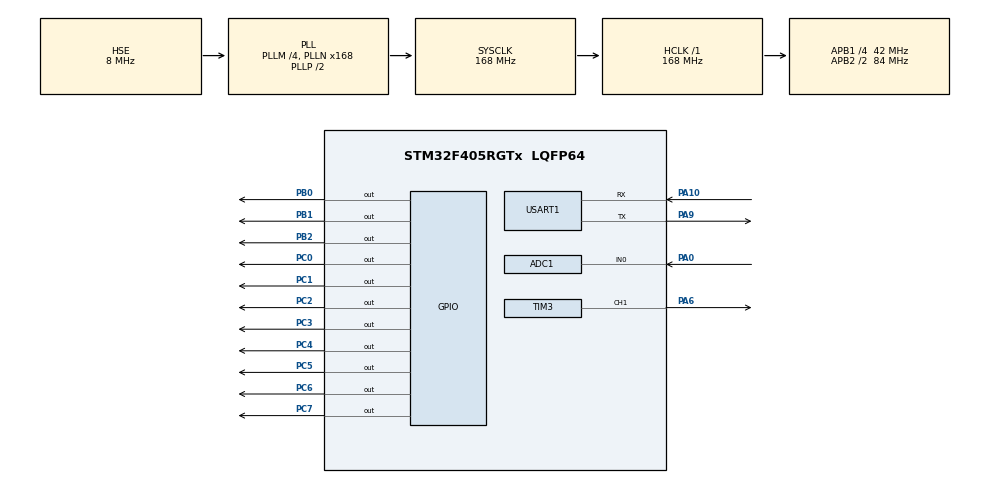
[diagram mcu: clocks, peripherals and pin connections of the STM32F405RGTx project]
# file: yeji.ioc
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ADC1.Channel-0\#ChannelRegularConversion=ADC_CHANNEL_0
ADC1.ContinuousConvMode=ENABLE
ADC1.DMAContinuousRequests=ENABLE
ADC1.NbrOfConversionFlag=1
ADC1.Rank-0\#ChannelRegularConversion=1
ADC1.SamplingTime-0\#ChannelRegularConversion=ADC_SAMPLETIME_3CYCLES
ADC1.master=1
Dma.ADC1.0.Direction=DMA_PERIPH_TO_MEMORY
Dma.ADC1.0.FIFOMode=DMA_FIFOMODE_DISABLE
Dma.ADC1.0.Instance=DMA2_Stream0
Dma.ADC1.0.MemDataAlignment=DMA_MDATAALIGN_HALFWORD
Dma.ADC1.0.MemInc=DMA_MINC_ENABLE
Dma.ADC1.0.Mode=DMA_CIRCULAR
Dma.ADC1.0.PeriphDataAlignment=DMA_PDATAALIGN_HALFWORD
Dma.ADC1.0.PeriphInc=DMA_PINC_DISABLE
Dma.ADC1.0.Priority=DMA_PRIORITY_LOW
Dma.Request0=ADC1
Mcu.Family=STM32F4
Mcu.Name=STM32F405RGTx
Mcu.Package=LQFP64
NVIC.DMA2_Stream0_IRQn=true\:0\:0\:false\:false\:true\:false\:true
NVIC.PriorityGroup=NVIC_PRIORITYGROUP_4
PA0-WKUP.Signal=ADCx_IN0
PA10.Mode=Asynchronous
PA10.Signal=USART1_RX
PA13.Mode=Serial_Wire
PA13.Signal=SYS_JTMS-SWDIO
PA14.Mode=Serial_Wire
PA14.Signal=SYS_JTCK-SWCLK
PA6.Signal=S_TIM3_CH1
PA9.Mode=Asynchronous
PA9.Signal=USART1_TX
PB0.Signal=GPIO_Output
PB1.Signal=GPIO_Output
PB2.Signal=GPIO_Output
PC0.Signal=GPIO_Output
PC1.Signal=GPIO_Output
PC2.Signal=GPIO_Output
PC3.Signal=GPIO_Output
PC4.Signal=GPIO_Output
PC5.Signal=GPIO_Output
PC6.Signal=GPIO_Output
PC7.Signal=GPIO_Output
PH0-OSC_IN.Mode=HSE-External-Oscillator
PH0-OSC_IN.Signal=RCC_OSC_IN
PH1-OSC_OUT.Mode=HSE-External-Oscillator
PH1-OSC_OUT.Signal=RCC_OSC_OUT
ProjectManager.HeapSize=0x200
ProjectManager.StackSize=0x400
ProjectManager.TargetToolchain=EWARM V8.32
RCC.48MHZClocksFreq_Value=84000000
RCC.AHBFreq_Value=168000000
RCC.APB1CLKDivider=RCC_HCLK_DIV4
RCC.APB1Freq_Value=42000000
RCC.APB1TimFreq_Value=84000000
RCC.APB2CLKDivider=RCC_HCLK_DIV2
RCC.APB2Freq_Value=84000000
RCC.APB2TimFreq_Value=168000000
RCC.CortexFreq_Value=168000000
RCC.HCLKFreq_Value=168000000
RCC.HSE_VALUE=8000000
RCC.HSI_VALUE=16000000
RCC.LSE_VALUE=32768
RCC.PLLM=4
RCC.PLLN=168
RCC.PLLSourceVirtual=RCC_PLLSOURCE_HSE
RCC.SYSCLKFreq_VALUE=168000000
RCC.SYSCLKSource=RCC_SYSCLKSOURCE_PLLCLK
RCC.VCOOutputFreq_Value=336000000
SH.ADCx_IN0.0=ADC1_IN0,IN0
SH.S_TIM3_CH1.0=TIM3_CH1,PWM Generation1 CH1
TIM3.Channel-PWM\ Generation1\ CH1=TIM_CHANNEL_1
USART1.VirtualMode=VM_ASYNC
VP_TIM3_VS_ClockSourceINT.Mode=Internal
board=custom

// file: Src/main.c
/* USER CODE BEGIN Header */
/**
  ******************************************************************************
  * @file           : main.c
  * @brief          : Main program body
  ******************************************************************************
  * @attention
  *
  * <h2><center>&copy; Copyright (c) 2020 STMicroelectronics.
  * All rights reserved.</center></h2>
  *
  * This software component is licensed by ST under BSD 3-Clause license,
  * the "License"; You may not use this file except in compliance with the
  * License. You may obtain a copy of the License at:
  *                        opensource.org/licenses/BSD-3-Clause
  *
  ******************************************************************************
  */
/* USER CODE END Header */

#include "main.h"
#include "adc.h"
#include "dma.h"
#include "tim.h"
#include "usart.h"
#include "gpio.h"

/* USER CODE BEGIN Includes */
#include "lcd.h"
#include "stdio.h"
/* USER CODE END Includes */

/* USER CODE BEGIN PV */
//cds
uint16_t adcData;
char str[10];
//
/* USER CODE END PV */

void SystemClock_Config(void);

int main(void)
{
  /* USER CODE BEGIN 1 */
  //led
   uint16_t CCR1_val = 0;
   //usart
   unsigned char text[] = "Hello\r\n";
   unsigned char i = 0;
  /* USER CODE END 1 */

  /* MCU Configuration--------------------------------------------------------*/

  /* Reset of all peripherals, Initializes the Flash interface and the Systick. */
  HAL_Init();

  /* Configure the system clock */
  SystemClock_Config();

  /* Initialize all configured peripherals */
  MX_GPIO_Init();
  MX_DMA_Init();
  MX_TIM3_Init();
  MX_ADC1_Init();
  MX_USART1_UART_Init();
  /* USER CODE BEGIN 2 */
  //led
  HAL_TIM_PWM_Start(&htim3, TIM_CHANNEL_1);
  /* USER CODE END 2 */

  /* Infinite loop */
  /* USER CODE BEGIN WHILE */
  HAL_ADC_Start_DMA(&hadc1, (uint32_t *)&adcData, 1);
  while(text[i]!='\0')
  {
    HAL_UART_Transmit(&huart1, &text[i], sizeof(text[i]), 10);
    i++;
  }
  while (1)
  {
    //led
    //TIM3->CCR1 = CCR1_val;                       //CCR1_val 의 값을 바로 대입, pwm pulse
    //CCR1_val++;
    //if(CCR1_val > 100) CCR1_val = 0;            //0~99변화
    //HAL_Delay(50);
    //led
    //cds
    lcdClear();
    lcdGotoXY(0,0);
    lcdPrintData("ADC TEST", 8);
    sprintf(str, "ADC : %4d", adcData);
    lcdGotoXY(0, 1);                                            //lcd위치
    lcdPrint(str);                                              //str->lcd
    HAL_Delay(500);
    //cds
    /* USER CODE END WHILE */

  }
}

void SystemClock_Config(void)
{
  RCC_OscInitTypeDef RCC_OscInitStruct = {0};
  RCC_ClkInitTypeDef RCC_ClkInitStruct = {0};

  /** Configure the main internal regulator output voltage
  */
  __HAL_RCC_PWR_CLK_ENABLE();
  __HAL_PWR_VOLTAGESCALING_CONFIG(PWR_REGULATOR_VOLTAGE_SCALE1);
  /** Initializes the CPU, AHB and APB busses clocks
  */
  RCC_OscInitStruct.OscillatorType = RCC_OSCILLATORTYPE_HSE;
  RCC_OscInitStruct.HSEState = RCC_HSE_ON;
  RCC_OscInitStruct.PLL.PLLState = RCC_PLL_ON;
  RCC_OscInitStruct.PLL.PLLSource = RCC_PLLSOURCE_HSE;
  RCC_OscInitStruct.PLL.PLLM = 4;
  RCC_OscInitStruct.PLL.PLLN = 168;
  RCC_OscInitStruct.PLL.PLLP = RCC_PLLP_DIV2;
  RCC_OscInitStruct.PLL.PLLQ = 4;
  if (HAL_RCC_OscConfig(&RCC_OscInitStruct) != HAL_OK)
  {
    Error_Handler();
  }
  /** Initializes the CPU, AHB and APB busses clocks
  */
  RCC_ClkInitStruct.ClockType = RCC_CLOCKTYPE_HCLK|RCC_CLOCKTYPE_SYSCLK
                              |RCC_CLOCKTYPE_PCLK1|RCC_CLOCKTYPE_PCLK2;
  RCC_ClkInitStruct.SYSCLKSource = RCC_SYSCLKSOURCE_PLLCLK;
  RCC_ClkInitStruct.AHBCLKDivider = RCC_SYSCLK_DIV1;
  RCC_ClkInitStruct.APB1CLKDivider = RCC_HCLK_DIV4;
  RCC_ClkInitStruct.APB2CLKDivider = RCC_HCLK_DIV2;

  if (HAL_RCC_ClockConfig(&RCC_ClkInitStruct, FLASH_LATENCY_5) != HAL_OK)
  {
    Error_Handler();
  }
}

void Error_Handler(void)
{
}

/************************ (C) COPYRIGHT STMicroelectronics *****END OF FILE****/
